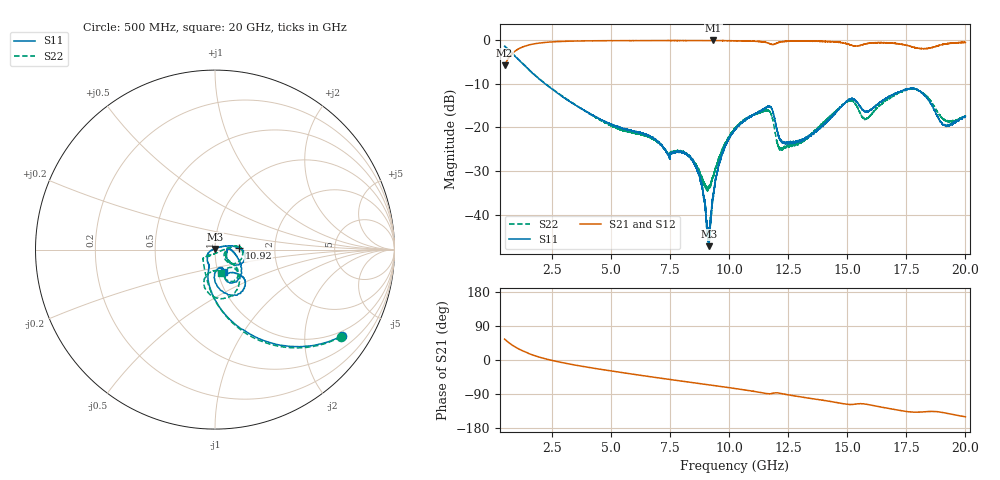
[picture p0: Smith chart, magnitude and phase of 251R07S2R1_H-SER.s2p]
!{201R07S2R1}
!Johanson Technology Inc.
!www.johansontechnology.com
!Test Board Conditions:
!Substrate Type  RO4350B
!Substrate Thickness  10 mil
!Substrate Dk  3.66
!TL Type: GCPW
!TL Trace Width  21 mil
!TL Gap  20 mil
!Electrode orientation  Horizontal
!DUT TOPOLOGY	SERIES
!Mounting Pad LxW  16x21 mil
!Agilent Technologies,N5230A,MY45001966,A.07.50.67
!Agilent N5230A: A.07.50.67
! Created Mon Mar  9 16:26:36 2020
# mhz S ma R 50
! 2 Port Network Data from SP1.SP block
! freq  magS11  angS11  magS21  angS21  magS12  angS12  magS22  angS22
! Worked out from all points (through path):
!   19501 points, 500 MHz to 20 GHz, reference 50 ohm
!   highest |S21| = -0.05 dB at 9.329 GHz (marker M1); lowest = -5.8 dB at 500 MHz (marker M2)
!   group delay of S21, straight-line fit = 24.7 ps
!   lowest |S11| = -47.2 dB at 9.14 GHz (marker M3), VSWR 1.01, Z = 49.9 + j0.42 ohm
!   |S11| at or under -10 dB: 2.217 GHz to end of sweep
!   |S22| runs from -34.6 to -1.4 dB; largest |S21 - S12| = 0.015
!   S11 on the Smith chart (normalised r, x): 500 MHz: 0.85, -3.02; 10.92 GHz: 1.31, +0.03; 20 GHz: 1.06, -0.27
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500  0.8539 -34.3  0.5136 55.1  0.5151 55.2  0.8548 -34.7
1058  0.6092 -58.8  0.7873 30.6  0.7861 30.5  0.6133 -59.5
1654  0.4254 -75.4  0.8991 14.0  0.8995 14.0  0.4286 -75.7
3750  0.1641 -103.9  0.9824 -16.3  0.9807 -16.3  0.1641 -106.9
7000  0.06824 -128.9  0.9904 -47.1  0.9906 -47.0  0.06769 -142.4
7420  0.04884 -142.2  0.9906 -50.7  0.9906 -50.7  0.0496 -136.4
8518  0.03841 -154.7  0.9901 -60.2  0.9912 -60.2  0.03994 -128.1
8814  0.02336 -165.1  0.9914 -62.8  0.9914 -62.7  0.02829 -111.6
9140  0.004345 104.6  0.9909 -65.6  0.9911 -65.5  0.02011 -55.0
9329  0.01705 37.4  0.9939 -67.2  0.9903 -67.2  0.02702 -21.7
9662  0.0452 22.7  0.9889 -70.0  0.9892 -70.0  0.05172 0.6
10250  0.09395 13.2  0.9861 -75.2  0.9849 -75.2  0.0978 9.5
10916  0.1334 4.4  0.9752 -81.5  0.9754 -81.3  0.1332 7.9
11704  0.1747 -18.0  0.9145 -89.2  0.9156 -89.1  0.1529 -22.5
12187  0.07101 -25.9  0.9547 -88.2  0.96 -88.4  0.05688 -20.9
13500  0.083 1.5  0.9785 -101.8  0.9771 -101.8  0.08398 -37.2
15114  0.2098 -51.2  0.8873 -117.6  0.8853 -117.3  0.2033 -55.8
15780  0.1508 -63.0  0.9098 -116.6  0.9113 -116.4  0.1243 -57.0
16750  0.2239 -44.8  0.9338 -127.6  0.9262 -127.8  0.2146 -50.1
17879  0.2761 -66.9  0.8224 -137.6  0.8196 -137.6  0.2728 -84.4
19111  0.1061 -79.3  0.9006 -139.4  0.902 -139.2  0.1222 -96.5
20000  0.134 -69.2  0.9435 -149.9  0.9443 -149.7  0.1366 -74.7
